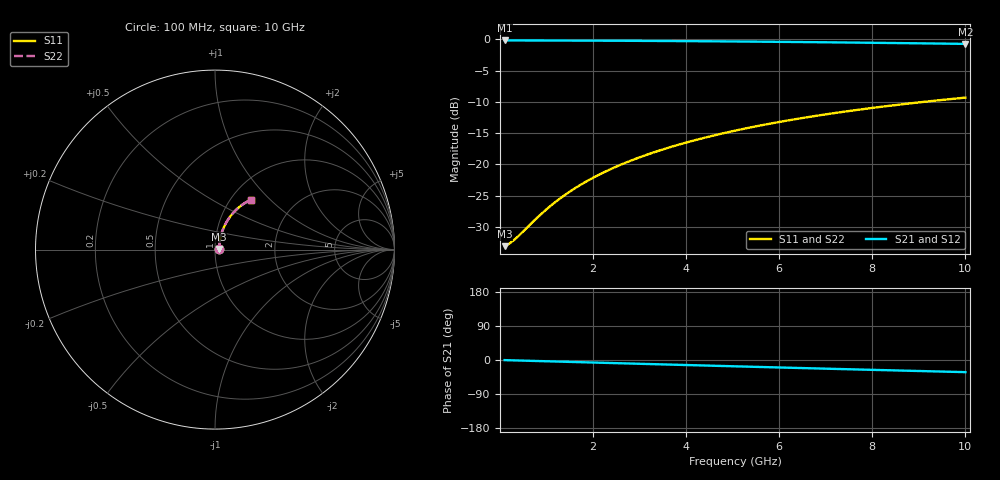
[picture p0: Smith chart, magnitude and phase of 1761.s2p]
# Hz S RI R 50.00
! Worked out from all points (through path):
!   100 points, 100 MHz to 10 GHz, reference 50 ohm
!   highest |S21| = -0.19 dB at 100 MHz (marker M1); lowest = -0.7 dB at 10 GHz (marker M2)
!   group delay of S21, straight-line fit = 8.92 ps
!   lowest |S11| = -33.1 dB at 100 MHz (marker M3), VSWR 1.05, Z = 52.2 + j0.379 ohm
!   |S11| at or under -10 dB: start of sweep to 9.12 GHz
!   |S22| runs from -33.1 to -9.3 dB; largest |S21 - S12| = 0
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1e8  0.0219 0.00363  0.9781 -0.00571  0.9781 -0.00571  0.0219 0.00363
2e8  0.0221 0.00725  0.9779 -0.0114  0.9779 -0.0114  0.0221 0.00725
3e8  0.0223 0.0109  0.9777 -0.0171  0.9777 -0.0171  0.0223 0.0109
4e8  0.0225 0.0145  0.9774 -0.0228  0.9774 -0.0228  0.0225 0.0145
8e8  0.0238 0.0289  0.9761 -0.0455  0.9761 -0.0455  0.0238 0.0289
1.1e9  0.0251 0.0397  0.9746 -0.0626  0.9746 -0.0626  0.0251 0.0397
1.4e9  0.0268 0.0504  0.9727 -0.0795  0.9727 -0.0795  0.0268 0.0504
1.6e9  0.0281 0.0575  0.9713 -0.0908  0.9713 -0.0908  0.0281 0.0575
1.8e9  0.0296 0.0645  0.9697 -0.102  0.9697 -0.102  0.0296 0.0645
2.1e9  0.0321 0.075  0.9669 -0.1187  0.9669 -0.1187  0.0321 0.075
2.5e9  0.036 0.0888  0.9626 -0.1409  0.9626 -0.1409  0.036 0.0888
2.9e9  0.0406 0.1024  0.9576 -0.1628  0.9576 -0.1628  0.0406 0.1024
3.4e9  0.0471 0.119  0.9504 -0.1898  0.9504 -0.1898  0.0471 0.119
3.8e9  0.0529 0.132  0.9439 -0.2111  0.9439 -0.2111  0.0529 0.132
4.2e9  0.0593 0.1446  0.9367 -0.2321  0.9367 -0.2321  0.0593 0.1446
4.6e9  0.0663 0.1569  0.929 -0.2527  0.929 -0.2527  0.0663 0.1569
5.1e9  0.0757 0.1716  0.9185 -0.2779  0.9185 -0.2779  0.0757 0.1716
5.9e9  0.0922 0.1939  0.9 -0.3169  0.9 -0.3169  0.0922 0.1939
6.7e9  0.1105 0.2144  0.8794 -0.3542  0.8794 -0.3542  0.1105 0.2144
7.5e9  0.1303 0.2329  0.8571 -0.3895  0.8571 -0.3895  0.1303 0.2329
8.4e9  0.154 0.2513  0.8302 -0.4269  0.8302 -0.4269  0.154 0.2513
1e10  0.199 0.2775  0.7785 -0.487  0.7785 -0.487  0.199 0.2775
